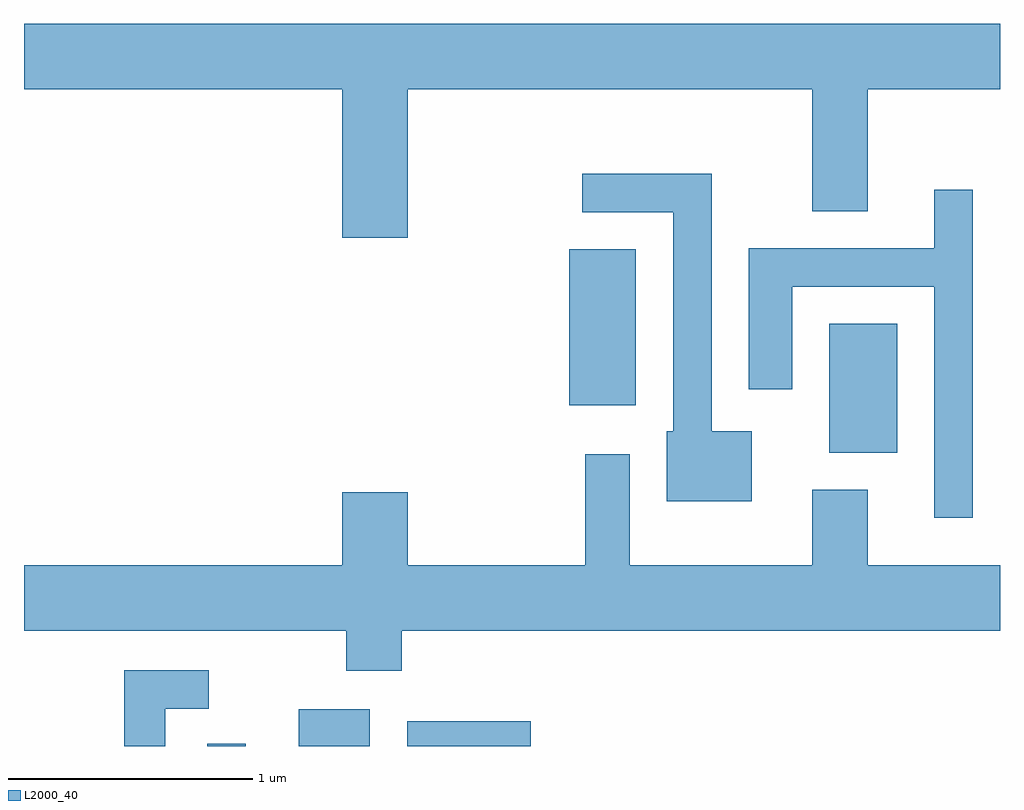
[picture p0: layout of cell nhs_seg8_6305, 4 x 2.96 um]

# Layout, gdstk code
import gdstk
lib = gdstk.Library(unit=1e-6, precision=1e-09)
def R(c, l, rs):  # rectangles x0, y0, x1, y1
    for r in rs: c.add(gdstk.rectangle(r[:2], r[2:], *l))
def P(c, l, *ps):  # polygons
    for p in ps: c.add(gdstk.Polygon(p, *l))
L2000_40 = (2000, 40)

nhs_seg8_6305 = lib.new_cell('nhs_seg8_6305')
R(nhs_seg8_6305, L2000_40, [(374.361,1880.342,374.519,1880.353), (374.736,1880.342,375.029,1880.494), (375.181,1880.342,375.688,1880.444), (376.911,1881.546,377.189,1882.074), (375.846,1881.741,376.119,1882.379)])
P(nhs_seg8_6305, L2000_40, [(375.184,1883.036),(376.841,1883.036),(376.841,1882.536),(377.069,1882.536),(377.069,1883.036),(377.611,1883.036),(377.611,1883.304),(373.611,1883.304),(373.611,1883.036),(374.916,1883.036),(374.916,1882.426),(375.184,1882.426)],
  [(376.594,1881.634),(376.429,1881.634),(376.429,1882.689),(375.898,1882.689),(375.898,1882.531),(376.271,1882.531),(376.271,1881.634),(376.246,1881.634),(376.246,1881.346),(376.594,1881.346)],
  [(377.499,1882.623),(377.341,1882.623),(377.341,1882.384),(376.581,1882.384),(376.581,1881.806),(376.759,1881.806),(376.759,1882.226),(377.341,1882.226),(377.341,1881.278),(377.499,1881.278)],
  [(375.159,1880.816),(377.611,1880.816),(377.611,1881.084),(377.069,1881.084),(377.069,1881.394),(376.841,1881.394),(376.841,1881.084),(376.094,1881.084),(376.094,1881.539),(375.911,1881.539),(375.911,1881.084),(375.184,1881.084),(375.184,1881.384),(374.916,1881.384),(374.916,1881.084),(373.611,1881.084),(373.611,1880.816),(374.931,1880.816),(374.931,1880.651),(375.159,1880.651)],
  [(374.189,1880.496),(374.368,1880.496),(374.368,1880.654),(374.021,1880.654),(374.021,1880.342),(374.189,1880.342)])

lib.write_gds('nhs_seg8_6305.gds')
